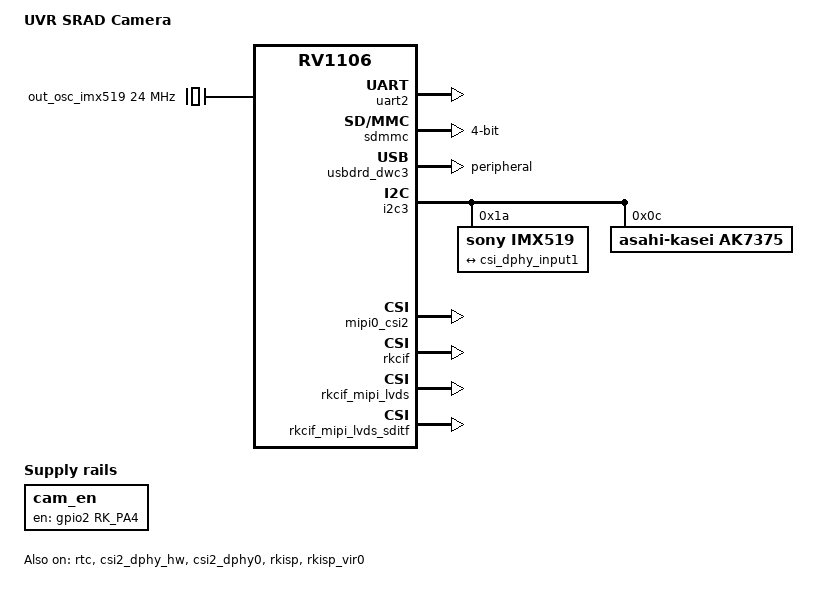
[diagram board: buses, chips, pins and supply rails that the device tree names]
// SPDX-License-Identifier: (GPL-2.0+ OR MIT)
/*
 * Copyright (c) 2022 Rockchip Electronics Co., Ltd.
 */

/dts-v1/;
#include "rv1106.dtsi"
#include "rv1106-luckfox-pico-zero-ipc.dtsi"
#include <dt-bindings/input/input.h>
#include <dt-bindings/display/media-bus-format.h>
#include <dt-bindings/gpio/gpio.h>

/ {
    model = "UVR SRAD Camera";
    compatible = "rockchip,rv1106g-uvr-srad-camera", "rockchip,rv1106";

    chosen {
        bootargs = "earlycon=uart8250,mmio32,0xff4c0000 console=ttyS2,115200 root=/dev/mmcblk0p7 rootwait snd_soc_core.prealloc_buffer_size_kbytes=16";
    };

    restart-poweroff {
        compatible = "restart-poweroff";
    };

    cam_en: cam-enable {
        compatible = "regulator-fixed";
        regulator-name = "cam_en";
        regulator-always-on;
        regulator-boot-on;
        gpio = <&gpio2 RK_PA4 GPIO_ACTIVE_HIGH>;
        enable-active-high;
        pinctrl-names = "default";
        pinctrl-0 = <&cam_pwr_en>;
    };

    out_osc_imx519: out-osc-imx519 {
        compatible = "fixed-clock";
        clock-output-names = "out-osc-imx519";
        clock-frequency = <24000000>;
        #clock-cells = <0>;
    };
};

/**********CRU**********/
&cru {
    assigned-clocks =
        <&cru PLL_GPLL>, <&cru PLL_CPLL>,
        <&cru ARMCLK>,
        <&cru ACLK_PERI_ROOT>, <&cru HCLK_PERI_ROOT>,
        <&cru PCLK_PERI_ROOT>, <&cru ACLK_BUS_ROOT>,
        <&cru PCLK_TOP_ROOT>, <&cru PCLK_PMU_ROOT>,
        <&cru HCLK_PMU_ROOT>, <&cru CLK_500M_SRC>;
    assigned-clock-rates =
        <1188000000>, <700000000>,
        <1104000000>,
        <400000000>, <200000000>,
        <100000000>, <300000000>,
        <100000000>, <100000000>,
        <200000000>, <700000000>;
};

/**********NPU**********/
&npu {
    assigned-clock-rates = <700000000>;
};

/**********EMMC**********/
&emmc {
    status = "disabled";
};

&fiq_debugger {
    status = "disabled";
};

&uart2 {
    status = "okay";
};

/**********SD_CARD**********/
&sdmmc {
    max-frequency = <50000000>;
    bus-width = <4>;
    cap-sd-highspeed;
    cap-mmc-highspeed;
    disable-wp;
    no-sdio;
    no-mmc;
    supports-sd;
    rockchip,default-sample-phase = <90>;
    pinctrl-names = "default";
    pinctrl-0 = <&sdmmc0_clk &sdmmc0_cmd &sdmmc0_bus4>;
    status = "okay";
};

/**********SDIO**********/
&sdio {
    status = "disabled";
};

/**********ETH**********/
&gmac {
    status = "disabled";
};

/**********USB**********/
&usbdrd_dwc3 {
    status = "okay";
    dr_mode = "peripheral";
    //dr_mode = "host";
};

/**********RTC**********/
&rtc {
    status = "okay";
};

/**********CSI receiver (step 2a: D-PHY + MIPI + CIF; ISP still disabled)**********/
// &cam_ircut0 {
//     status = "disabled";
// };

&csi2_dphy_hw {
    status = "okay";
};

&csi2_dphy0 {
    status = "okay";
};

/* Repurpose the inherited imx415 dphy input (port@0/endpoint@1) for the
 * imx519 on i2c3, at 2 lanes. The inherited i2c4 sensors stay disabled. */
&csi_dphy_input1 {
    remote-endpoint = <&imx519_out>;
    data-lanes = <1 2>;
};

&i2c3 {
    status = "okay";
    pinctrl-names = "default";
    pinctrl-0 = <&i2c3m0_xfer>;

    imx519: imx519@1a {
        compatible = "sony,imx519";
        status = "okay";
        reg = <0x1a>;
        clocks = <&out_osc_imx519>;
        clock-names = "xvclk";
        rockchip,camera-module-index = <0>;
        rockchip,camera-module-facing = "back";
        rockchip,camera-module-name = "arducam-imx519";
        rockchip,camera-module-lens-name = "default";
        lens-focus = <&ak7375>;
        port {
            imx519_out: endpoint {
                remote-endpoint = <&csi_dphy_input1>;
                data-lanes = <1 2>;
                link-frequencies = /bits/ 64 <493500000>;
            };
        };
    };

    /* AK7375 VCM (autofocus). Driver ported onto the Rockchip rk_cam_vcm
     * framework so rkaiq can drive continuous AF. The vcm-*-current props
     * map the logical-position range across the 12-bit DAC; the AK7375 has
     * no real current rating, so these are DAC proxies (start 0 -> rated
     * full-scale). module-index/facing are required by the driver's DT
     * parse and must match the sensor. */
    ak7375: ak7375@c {
        compatible = "asahi-kasei,ak7375";
        status = "okay";
        reg = <0x0c>;
        rockchip,camera-module-index = <0>;
        rockchip,camera-module-facing = "back";
        rockchip,vcm-max-current = <100>;
        rockchip,vcm-start-current = <0>;
        rockchip,vcm-rated-current = <100>;
        rockchip,vcm-step-mode = <0>;
    };
};

&i2c4 {
    status = "disabled";
};

&mipi0_csi2 {
    status = "okay";
};

&rkcif {
    status = "okay";
};

&rkcif_mipi_lvds {
    status = "okay";
};

/* sditf is the direct-to-ISP path (step 3: CIF -> ISP). Endpoint wiring
 * (mipi_lvds_sditf <-> isp_in) is inherited from the base dtsi. */
&rkcif_mipi_lvds_sditf {
    status = "okay";
};

&rkisp {
    status = "okay";
};

&rkisp_vir0 {
    status = "okay";
};

/**********SPI**********/
&spi0 {
    status = "disabled";
    spidev@0 {
        spi-max-frequency = <50000000>;
    };
};

/**********PINCTRL**********/
&pinctrl {
    camera {
        cam_pwr_en: cam-pwr-en {
            rockchip,pins = <2 RK_PA4 RK_FUNC_GPIO &pcfg_pull_none>;
        };
    };
};
